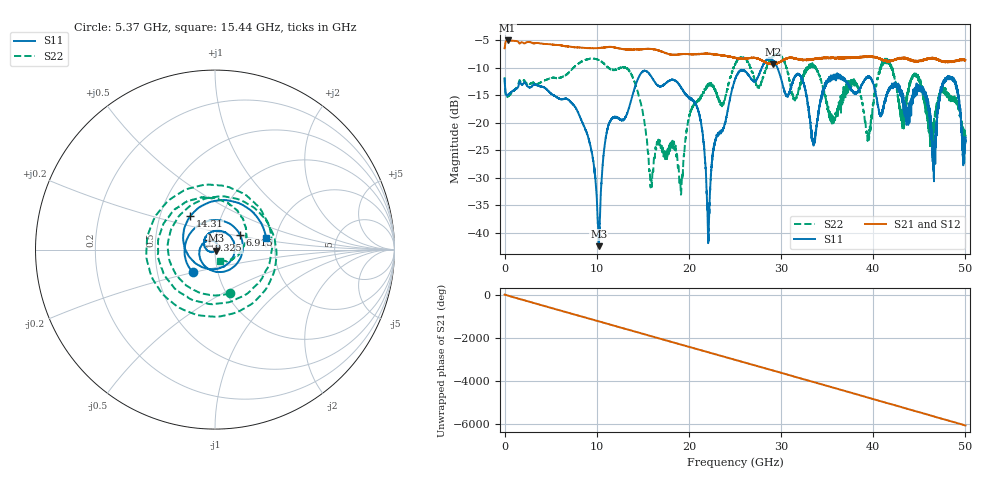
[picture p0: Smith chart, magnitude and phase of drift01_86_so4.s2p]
!Created with skrf (http://scikit-rf.org).
# Hz S RI R 50.0
!freq ReS11 ImS11 ReS21 ImS21 ReS12 ImS12 ReS22 ImS22
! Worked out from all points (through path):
!   10001 points, 300 kHz to 50 GHz, reference 50 ohm
!   highest |S21| = -5.05 dB at 325.3 MHz (marker M1); lowest = -9.4 dB at 29.12 GHz (marker M2)
!   group delay of S21, straight-line fit = 336 ps
!   lowest |S11| = -42.4 dB at 10.22 GHz (marker M3), VSWR 1.02, Z = 50.5 - j0.597 ohm
!   |S11| at or under -10 dB: start of sweep to 27.9 GHz; 29.59 GHz to end of sweep
!   |S22| runs from -33.0 to -7.5 dB; largest |S21 - S12| = 0.014
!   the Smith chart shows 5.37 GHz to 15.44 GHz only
!   S11 on the Smith chart (normalised r, x): 5.37 GHz: 0.76, -0.20; 6.915 GHz: 1.30, +0.22; 9.325 GHz: 0.93, +0.10; 14.31 GHz: 0.71, +0.28; 15.44 GHz: 1.78, +0.25
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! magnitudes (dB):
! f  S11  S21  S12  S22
! 300 kHz  -12.0  -6.5  -6.5  -11.8
! 325.3 MHz  -15.0  -5.1  -5.1  -15.3
! 5.37 GHz  -15.0  -5.9  -5.9  -11.8
! 6.915 GHz  -15.8  -6.2  -6.1  -11.0
! 8.335 GHz  -19.5  -6.4  -6.4  -8.9
! 9.325 GHz  -24.2  -6.5  -6.5  -8.4
! 10.22 GHz  -42.4  -6.4  -6.4  -8.6
! 11.23 GHz  -20.7  -6.3  -6.3  -9.9
! 14.31 GHz  -12.7  -6.7  -6.7  -13.6
! 15.44 GHz  -10.7  -6.6  -6.6  -23.0
! 16.67 GHz  -13.3  -6.9  -6.9  -23.3
! 19.14 GHz  -13.5  -7.5  -7.5  -33.0
! 20.86 GHz  -17.1  -7.6  -7.5  -16.1
! 22.12 GHz  -41.5  -7.5  -7.5  -13.3
! 25 GHz  -12.1  -8.2  -8.2  -9.3
! 29.12 GHz  -8.7  -9.4  -9.4  -7.9
! 33.34 GHz  -23.0  -8.5  -8.4  -9.7
! 39.46 GHz  -11.6  -8.0  -8.0  -21.9
! 41.67 GHz  -13.9  -8.8  -8.7  -9.2
! 46.56 GHz  -27.0  -8.3  -8.3  -20.8
! 48.56 GHz  -12.0  -8.9  -8.9  -15.8
! 50 GHz  -23.6  -8.6  -8.7  -23.0
